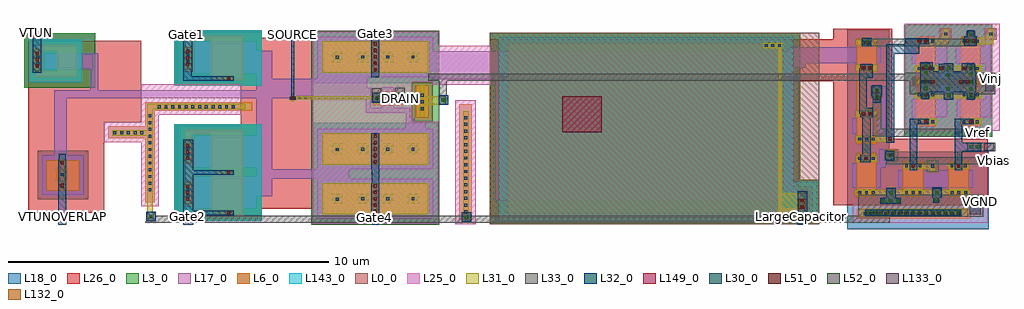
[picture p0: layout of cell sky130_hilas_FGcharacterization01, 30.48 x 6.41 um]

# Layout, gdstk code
from math import pi, radians
import gdstk
lib = gdstk.Library(unit=1e-6, precision=1e-09)
def R(c, l, rs):  # rectangles x0, y0, x1, y1
    for r in rs: c.add(gdstk.rectangle(r[:2], r[2:], *l))
def A(c, l, x, y, w, h, nx, ny, dx, dy):  # array of equal rectangles
    R(c, l, [(x+i*dx, y+j*dy, x+i*dx+w, y+j*dy+h) for i in range(nx) for j in range(ny)])
L0_0 = (0, 0)
L3_0 = (3, 0)
L6_0 = (6, 0)
L17_0 = (17, 0)
L18_0 = (18, 0)
L25_0 = (25, 0)
L26_0 = (26, 0)
L30_0 = (30, 0)
L31_0 = (31, 0)
L32_0 = (32, 0)
L33_0 = (33, 0)
L51_0 = (51, 0)
L52_0 = (52, 0)
L132_0 = (132, 0)
L133_0 = (133, 0)
L143_0 = (143, 0)
L149_0 = (149, 0)

m1_od_cdns_6762444927218 = lib.new_cell('M1_OD_CDNS_6762444927218')
R(m1_od_cdns_6762444927218, L6_0, [(-0.075,-0.075,0.075,0.075)])
R(m1_od_cdns_6762444927218, L30_0, [(-0.045,-0.045,0.045,0.045)])
R(m1_od_cdns_6762444927218, L31_0, [(-0.085,-0.085,0.085,0.085)])

m2_m1_cdns_6762444927219 = lib.new_cell('M2_M1_CDNS_6762444927219')
R(m2_m1_cdns_6762444927219, L31_0, [(-0.09,-0.49,0.09,0.49)])
R(m2_m1_cdns_6762444927219, L32_0, [(-0.09,-0.49,0.09,0.49)])
A(m2_m1_cdns_6762444927219, L51_0, -0.05, -0.45, 0.1, 0.1, 1, 5, 0, 0.2)

sky130_hilas_overlapcap0 = lib.new_cell('sky130_hilas_overlapCap02a')
R(sky130_hilas_overlapcap0, L3_0, [(0,0,4,1.64)])
R(sky130_hilas_overlapcap0, L6_0, [(0.35,0.33,3.66,1.31)])
A(sky130_hilas_overlapcap0, L17_0, 1.015, 0.625, 0.39, 0.4, 3, 1, 0.79, 0)
R(sky130_hilas_overlapcap0, L17_0, [(0.19,0.19,3.81,0.625), (0.19,0.625,0.615,1.025), (3.385,0.625,3.81,1.025), (0.19,1.025,3.81,1.45)])
R(sky130_hilas_overlapcap0, L18_0, [(0,0,4,1.64)])
R(sky130_hilas_overlapcap0, L25_0, [(0.04,0.04,3.96,1.6)])
R(sky130_hilas_overlapcap0, L31_0, [(0.35,0.33,3.66,1.31)])
R(sky130_hilas_overlapcap0, L32_0, [(1.88,0.19,2.12,0.41), (1.88,0.41,2.12,0.67), (1.88,0.67,2.12,1.31)])
sky130_hilas_overlapcap0.add(gdstk.Reference(m1_od_cdns_6762444927218, (3.18,0.815)))
sky130_hilas_overlapcap0.add(gdstk.Reference(m1_od_cdns_6762444927218, (2.39,0.815)))
sky130_hilas_overlapcap0.add(gdstk.Reference(m1_od_cdns_6762444927218, (1.605,0.815)))
sky130_hilas_overlapcap0.add(gdstk.Reference(m1_od_cdns_6762444927218, (0.815,0.805)))
sky130_hilas_overlapcap0.add(gdstk.Reference(m2_m1_cdns_6762444927219, (2,0.82)))

m1_po_cdns_6762444927220 = lib.new_cell('M1_PO_CDNS_6762444927220')
R(m1_po_cdns_6762444927220, L17_0, [(-0.085,-0.085,0.085,0.085)])
R(m1_po_cdns_6762444927220, L30_0, [(-0.045,-0.045,0.045,0.045)])
R(m1_po_cdns_6762444927220, L31_0, [(-0.085,-0.085,0.085,0.085)])

sky130_hilas_poly2li = lib.new_cell('sky130_hilas_poly2li')
R(sky130_hilas_poly2li, L0_0, [(-0.14,-0.16,0.23,0.21)])
R(sky130_hilas_poly2li, L17_0, [(-0.09,-0.14,0.18,0.19)])
R(sky130_hilas_poly2li, L31_0, [(-0.04,-0.14,0.13,0.19)])
sky130_hilas_poly2li.add(gdstk.Reference(m1_po_cdns_6762444927220, (0.045,0.025)))

m2_m1_cdns_6762444927221 = lib.new_cell('M2_M1_CDNS_6762444927221')
R(m2_m1_cdns_6762444927221, L31_0, [(-0.09,-0.09,0.09,0.09)])
R(m2_m1_cdns_6762444927221, L32_0, [(-0.115,-0.115,0.115,0.115)])
R(m2_m1_cdns_6762444927221, L51_0, [(-0.05,-0.05,0.05,0.05)])

m3_m2_cdns_6762444927222 = lib.new_cell('M3_M2_CDNS_6762444927222')
R(m3_m2_cdns_6762444927222, L32_0, [(-0.115,-0.115,0.115,0.115)])
R(m3_m2_cdns_6762444927222, L33_0, [(-0.09,-0.09,0.09,0.09)])
R(m3_m2_cdns_6762444927222, L52_0, [(-0.05,-0.05,0.05,0.05)])

sky130_hilas_li2m2 = lib.new_cell('sky130_hilas_li2m2')
R(sky130_hilas_li2m2, L32_0, [(-0.11,-0.125,0.19,0.175)])
R(sky130_hilas_li2m2, L33_0, [(-0.11,-0.125,0.19,0.175)])
sky130_hilas_li2m2.add(gdstk.Reference(m2_m1_cdns_6762444927221, (0.04,0.02)))
sky130_hilas_li2m2.add(gdstk.Reference(m3_m2_cdns_6762444927222, (0.04,0.02)))

m1_od_cdns_6762444927223 = lib.new_cell('M1_OD_CDNS_6762444927223')
R(m1_od_cdns_6762444927223, L6_0, [(-0.075,-0.18,0.075,0.18)])
R(m1_od_cdns_6762444927223, L30_0, [(-0.045,-0.15,0.045,-0.06), (-0.045,0.06,0.045,0.15)])
R(m1_od_cdns_6762444927223, L31_0, [(-0.085,-0.19,0.085,0.19)])

m2_m1_cdns_6762444927224 = lib.new_cell('M2_M1_CDNS_6762444927224')
R(m2_m1_cdns_6762444927224, L31_0, [(-0.09,-0.29,0.09,0.29)])
R(m2_m1_cdns_6762444927224, L32_0, [(-0.09,-0.29,0.09,0.29)])
A(m2_m1_cdns_6762444927224, L51_0, -0.05, -0.25, 0.1, 0.1, 1, 3, 0, 0.2)

sky130_hilas_fgvaractorc = lib.new_cell('sky130_hilas_FGVaractorCapacitor02')
R(sky130_hilas_fgvaractorc, L3_0, [(0,0,2.72,1.735)])
R(sky130_hilas_fgvaractorc, L6_0, [(1.15,0.18,2.15,1.425), (0.33,0.43,0.55,1.425), (0.33,1.425,2.15,1.575)])
R(sky130_hilas_fgvaractorc, L17_0, [(0.64,0.375,2.56,1.375)])
R(sky130_hilas_fgvaractorc, L18_0, [(0,0,2.72,1.735)])
R(sky130_hilas_fgvaractorc, L26_0, [(0.17,0.16,2.72,1.695)])
R(sky130_hilas_fgvaractorc, L30_0, [(1.65,0.195,1.74,0.285)])
R(sky130_hilas_fgvaractorc, L31_0, [(1.32,0.17,1.85,0.305), (0.3,0.52,0.53,1.21)])
R(sky130_hilas_fgvaractorc, L32_0, [(0.28,0.17,0.54,0.49), (0.285,0.17,1.85,0.305), (0.28,0.47,0.54,1.26)])
R(sky130_hilas_fgvaractorc, L51_0, [(1.645,0.19,1.745,0.29)])
R(sky130_hilas_fgvaractorc, L143_0, [(0,0,2.72,1.735)])
sky130_hilas_fgvaractorc.add(gdstk.Reference(m1_od_cdns_6762444927223, (0.42,0.87)))
sky130_hilas_fgvaractorc.add(gdstk.Reference(m2_m1_cdns_6762444927224, (0.41,0.875)))

m1_od_cdns_6762444927225 = lib.new_cell('M1_OD_CDNS_6762444927225')
R(m1_od_cdns_6762444927225, L6_0, [(-0.075,-0.18,0.075,0.18)])
R(m1_od_cdns_6762444927225, L30_0, [(-0.045,-0.15,0.045,-0.06), (-0.045,0.06,0.045,0.15)])
R(m1_od_cdns_6762444927225, L31_0, [(-0.085,-0.19,0.085,0.19)])

m2_m1_cdns_6762444927226 = lib.new_cell('M2_M1_CDNS_6762444927226')
R(m2_m1_cdns_6762444927226, L31_0, [(-0.09,-0.29,0.09,0.29)])
R(m2_m1_cdns_6762444927226, L32_0, [(-0.09,-0.29,0.09,0.29)])
A(m2_m1_cdns_6762444927226, L51_0, -0.05, -0.25, 0.1, 0.1, 1, 3, 0, 0.2)

sky130_hilas_fgvaractort = lib.new_cell('sky130_hilas_FGVaractorTunnelCap01')
R(sky130_hilas_fgvaractort, L3_0, [(0,0,2.22,1.69)])
R(sky130_hilas_fgvaractort, L6_0, [(0.33,0.33,1.65,0.51), (1.04,0.33,1.65,1.15), (0.33,0.43,0.55,1.15), (0.33,1.15,1.65,1.34)])
R(sky130_hilas_fgvaractort, L17_0, [(0.64,0.58,2.05,1.08)])
R(sky130_hilas_fgvaractort, L18_0, [(0,0,2.22,1.69)])
R(sky130_hilas_fgvaractort, L26_0, [(0.135,0.26,2.215,1.465)])
R(sky130_hilas_fgvaractort, L31_0, [(0.3,0.52,0.53,1.21)])
R(sky130_hilas_fgvaractort, L32_0, [(0.28,0.47,0.54,1.26)])
R(sky130_hilas_fgvaractort, L143_0, [(0.17,0.17,1.81,1.5)])
sky130_hilas_fgvaractort.add(gdstk.Reference(m1_od_cdns_6762444927225, (0.425,0.845)))
sky130_hilas_fgvaractort.add(gdstk.Reference(m2_m1_cdns_6762444927226, (0.415,0.875)))

m1_od_cdns_6762444927227 = lib.new_cell('M1_OD_CDNS_6762444927227')
R(m1_od_cdns_6762444927227, L6_0, [(-0.18,-0.075,0.18,0.075)])
R(m1_od_cdns_6762444927227, L30_0, [(-0.15,-0.045,-0.06,0.045), (0.06,-0.045,0.15,0.045)])
R(m1_od_cdns_6762444927227, L31_0, [(-0.19,-0.09,0.19,0.09)])

m2_m1_cdns_676244492721 = lib.new_cell('M2_M1_CDNS_676244492721')
R(m2_m1_cdns_676244492721, L31_0, [(-0.19,-0.09,0.19,0.09)])
R(m2_m1_cdns_676244492721, L32_0, [(-0.19,-0.09,0.19,0.09)])
R(m2_m1_cdns_676244492721, L51_0, [(-0.15,-0.05,-0.05,0.05), (0.05,-0.05,0.15,0.05)])

sky130_hilas_ndiffthoxco = lib.new_cell('sky130_hilas_nDiffThOxContact')
R(sky130_hilas_ndiffthoxco, L6_0, [(-0.24,0.13,0.39,0.41)])
R(sky130_hilas_ndiffthoxco, L26_0, [(-0.365,0.005,0.515,0.535)])
R(sky130_hilas_ndiffthoxco, L31_0, [(-0.26,0.17,0.41,0.36)])
R(sky130_hilas_ndiffthoxco, L32_0, [(-0.12,0.15,0.27,0.38)])
sky130_hilas_ndiffthoxco.add(gdstk.Reference(m1_od_cdns_6762444927227, (0.075,0.265)))
sky130_hilas_ndiffthoxco.add(gdstk.Reference(m2_m1_cdns_676244492721, (0.075,0.265)))

sky130_hilas_pfetdevice0 = lib.new_cell('sky130_hilas_pFETdevice01w1')
R(sky130_hilas_pfetdevice0, L3_0, [(-0.79,-0.78,0.82,0.43)])
R(sky130_hilas_pfetdevice0, L6_0, [(-0.45,-0.22,0.48,0.2)])
R(sky130_hilas_pfetdevice0, L17_0, [(0.56,-0.78,0.82,-0.63), (0.56,-0.63,0.71,-0.45), (-0.68,-0.45,0.71,-0.3), (-0.68,-0.3,-0.53,0.18), (-0.18,-0.3,0.21,0.33), (-0.79,0.18,-0.53,0.33)])
R(sky130_hilas_pfetdevice0, L25_0, [(-0.575,-0.345,0.605,0.325)])
R(sky130_hilas_pfetdevice0, L31_0, [(-0.41,-0.16,-0.24,0.17), (0.27,-0.16,0.44,0.17), (0.27,0.06,0.44,0.17), (-0.41,0.065,-0.24,0.17)])
sky130_hilas_pfetdevice0.add(gdstk.Reference(m1_od_cdns_6762444927218, (0.355,-0.01)))
sky130_hilas_pfetdevice0.add(gdstk.Reference(m1_od_cdns_6762444927218, (-0.325,0)))
sky130_hilas_pfetdevice0.add(gdstk.Label('DRAIN', (0.37,0.23), layer=31, texttype=0))
sky130_hilas_pfetdevice0.add(gdstk.Label('SOURCE', (-0.355,0.22), layer=31, texttype=0))

m2_m1_cdns_6762444927228 = lib.new_cell('M2_M1_CDNS_6762444927228')
R(m2_m1_cdns_6762444927228, L31_0, [(-0.09,-0.19,0.09,0.19)])
R(m2_m1_cdns_6762444927228, L32_0, [(-0.09,-0.19,0.09,0.19)])
R(m2_m1_cdns_6762444927228, L51_0, [(-0.05,-0.15,0.05,-0.05), (-0.05,0.05,0.05,0.15)])

m1_od_cdns_676244492723 = lib.new_cell('M1_OD_CDNS_676244492723')
R(m1_od_cdns_676244492723, L6_0, [(-0.285,-0.075,0.285,0.075)])
A(m1_od_cdns_676244492723, L30_0, -0.255, -0.045, 0.09, 0.09, 3, 1, 0.21, 0)
R(m1_od_cdns_676244492723, L31_0, [(-0.295,-0.085,0.295,0.085)])

sky130_hilas_fghugevarac = lib.new_cell('sky130_hilas_FGHugeVaractorCapacitor01')
R(sky130_hilas_fghugevarac, L3_0, [(0,0,10.29,1.39), (0,1.39,9.69,5.99)])
R(sky130_hilas_fghugevarac, L6_0, [(0.56,0.33,9.96,0.5), (0.56,0.5,9.12,5.66), (9.6,0.5,9.96,1.06)])
R(sky130_hilas_fghugevarac, L17_0, [(0.16,0.74,9.51,5.4)])
R(sky130_hilas_fghugevarac, L18_0, [(0,0,10.29,1.39), (0,1.39,9.69,5.99)])
R(sky130_hilas_fghugevarac, L26_0, [(0.01,0.205,10.085,1.185), (0.01,1.185,9.66,5.785)])
R(sky130_hilas_fghugevarac, L31_0, [(9.005,0.3,9.13,5.5), (9.13,0.3,9.655,0.97), (9.655,0.3,9.835,0.97)])
R(sky130_hilas_fghugevarac, L32_0, [(9.63,0.46,9.87,0.84)])
R(sky130_hilas_fghugevarac, L132_0, [(9.64,0.49,9.855,0.78)])
R(sky130_hilas_fghugevarac, L143_0, [(0.28,0.095,9.47,5.84), (9.47,0.095,10.225,1.335)])
R(sky130_hilas_fghugevarac, L149_0, [(2.255,2.875,3.495,4.005)])
sky130_hilas_fghugevarac.add(gdstk.Reference(m2_m1_cdns_6762444927228, (9.745,0.65)))
sky130_hilas_fghugevarac.add(gdstk.Reference(m1_od_cdns_6762444927225, (9.745,0.645)))
sky130_hilas_fghugevarac.add(gdstk.Reference(m1_od_cdns_676244492723, (8.835,5.585)))
sky130_hilas_fghugevarac.add(gdstk.Label('FG', (2.81,3.53), layer=149, texttype=0))
sky130_hilas_fghugevarac.add(gdstk.Label('Gate', (9.745,0.665), layer=132, texttype=0))

m2_m1_cdns_676244492729 = lib.new_cell('M2_M1_CDNS_676244492729')
R(m2_m1_cdns_676244492729, L31_0, [(-0.09,-0.09,0.09,0.09)])
R(m2_m1_cdns_676244492729, L32_0, [(-0.09,-0.09,0.09,0.09)])
R(m2_m1_cdns_676244492729, L51_0, [(-0.05,-0.05,0.05,0.05)])

sky130_hilas_noverlapcap = lib.new_cell('sky130_hilas_nOverlapCap01')
R(sky130_hilas_noverlapcap, L6_0, [(0.27,0.27,1.305,1.215)])
R(sky130_hilas_noverlapcap, L17_0, [(0.13,0.13,1.445,0.57), (0.13,0.57,0.57,0.97), (0.97,0.57,1.445,0.97), (0.13,0.97,1.445,1.375)])
R(sky130_hilas_noverlapcap, L18_0, [(0,0,1.575,1.505)])
R(sky130_hilas_noverlapcap, L26_0, [(0,0,1.575,1.505)])
R(sky130_hilas_noverlapcap, L31_0, [(0.685,0.335,0.855,1.225)])
R(sky130_hilas_noverlapcap, L32_0, [(0.655,0.125,0.885,1.415)])
sky130_hilas_noverlapcap.add(gdstk.Reference(m1_od_cdns_6762444927218, (0.77,0.77)))
sky130_hilas_noverlapcap.add(gdstk.Reference(m2_m1_cdns_676244492729, (0.77,0.425)))
sky130_hilas_noverlapcap.add(gdstk.Reference(m2_m1_cdns_676244492729, (0.77,1.135)))

m3_m2_cdns_6762444927211 = lib.new_cell('M3_M2_CDNS_6762444927211')
R(m3_m2_cdns_6762444927211, L32_0, [(-0.09,-0.09,0.09,0.09)])
R(m3_m2_cdns_6762444927211, L33_0, [(-0.09,-0.09,0.09,0.09)])
R(m3_m2_cdns_6762444927211, L52_0, [(-0.05,-0.05,0.05,0.05)])

sky130_hilas_poly2m2 = lib.new_cell('sky130_hilas_poly2m2')
R(sky130_hilas_poly2m2, L0_0, [(-0.11,-0.1,0.26,0.27)])
R(sky130_hilas_poly2m2, L17_0, [(-0.09,-0.08,0.24,0.25)])
R(sky130_hilas_poly2m2, L31_0, [(-0.03,-0.2,0.18,-0.18), (-0.03,-0.18,0.18,0.25)])
R(sky130_hilas_poly2m2, L32_0, [(-0.04,-0.26,0.19,-0.03), (-0.08,-0.03,0.24,0.29)])
R(sky130_hilas_poly2m2, L33_0, [(-0.08,-0.03,0.24,0.29)])
sky130_hilas_poly2m2.add(gdstk.Reference(m1_po_cdns_6762444927220, (0.075,0.1)))
sky130_hilas_poly2m2.add(gdstk.Reference(m3_m2_cdns_6762444927211, (0.08,0.14)))
sky130_hilas_poly2m2.add(gdstk.Reference(m2_m1_cdns_6762444927228, (0.08,-0.005)))

m3_m2_cdns_676244492720 = lib.new_cell('M3_M2_CDNS_676244492720')
R(m3_m2_cdns_676244492720, L32_0, [(-0.035,-0.075,0.175,0.195)])
R(m3_m2_cdns_676244492720, L33_0, [(-0.065,-0.045,0.205,0.165)])
R(m3_m2_cdns_676244492720, L52_0, [(0.02,0.01,0.12,0.11)])

m1_od_cdns_676244492722 = lib.new_cell('M1_OD_CDNS_676244492722')
R(m1_od_cdns_676244492722, L6_0, [(-1.545,-0.075,1.545,0.075)])
A(m1_od_cdns_676244492722, L30_0, -1.515, -0.045, 0.09, 0.09, 15, 1, 0.21, 0)
R(m1_od_cdns_676244492722, L31_0, [(-1.555,-0.085,1.555,0.085)])

m1_od_cdns_676244492724 = lib.new_cell('M1_OD_CDNS_676244492724')
R(m1_od_cdns_676244492724, L6_0, [(-0.075,-1.23,0.075,1.23)])
A(m1_od_cdns_676244492724, L30_0, -0.045, -1.2, 0.09, 0.09, 1, 12, 0, 0.21)
R(m1_od_cdns_676244492724, L31_0, [(-0.085,-1.24,0.085,1.24)])

m1_od_cdns_676244492725 = lib.new_cell('M1_OD_CDNS_676244492725')
R(m1_od_cdns_676244492725, L6_0, [(-0.495,-0.075,0.495,0.075)])
A(m1_od_cdns_676244492725, L30_0, -0.465, -0.045, 0.09, 0.09, 5, 1, 0.21, 0)
R(m1_od_cdns_676244492725, L31_0, [(-0.505,-0.085,0.505,0.085)])

m1_od_cdns_676244492726 = lib.new_cell('M1_OD_CDNS_676244492726')
R(m1_od_cdns_676244492726, L6_0, [(-0.075,-0.285,0.075,0.285)])
A(m1_od_cdns_676244492726, L30_0, -0.045, -0.255, 0.09, 0.09, 1, 3, 0, 0.21)
R(m1_od_cdns_676244492726, L31_0, [(-0.085,-0.295,0.085,0.295)])

m1_od_cdns_676244492727 = lib.new_cell('M1_OD_CDNS_676244492727')
R(m1_od_cdns_676244492727, L6_0, [(-0.075,-1.545,0.075,1.545)])
A(m1_od_cdns_676244492727, L30_0, -0.045, -1.515, 0.09, 0.09, 1, 15, 0, 0.21)
R(m1_od_cdns_676244492727, L31_0, [(-0.085,-1.555,0.085,1.555)])

m1_od_cdns_676244492728 = lib.new_cell('M1_OD_CDNS_676244492728')
R(m1_od_cdns_676244492728, L6_0, [(-0.18,-0.075,0.18,0.075)])
R(m1_od_cdns_676244492728, L30_0, [(-0.15,-0.045,-0.06,0.045), (0.06,-0.045,0.15,0.045)])
R(m1_od_cdns_676244492728, L31_0, [(-0.19,-0.085,0.19,0.085)])

m2_m1_cdns_6762444927210 = lib.new_cell('M2_M1_CDNS_6762444927210')
R(m2_m1_cdns_6762444927210, L31_0, [(-0.045,-0.025,0.075,0.155)])
R(m2_m1_cdns_6762444927210, L32_0, [(-0.065,-0.045,0.095,0.175)])
R(m2_m1_cdns_6762444927210, L51_0, [(-0.035,0.015,0.065,0.115)])

m2_m1_cdns_6762444927212 = lib.new_cell('M2_M1_CDNS_6762444927212')
R(m2_m1_cdns_6762444927212, L31_0, [(-1.49,-0.09,1.49,0.09)])
R(m2_m1_cdns_6762444927212, L32_0, [(-1.49,-0.09,1.49,0.09)])
A(m2_m1_cdns_6762444927212, L51_0, -1.45, -0.05, 0.1, 0.1, 15, 1, 0.2, 0)

m3_m2_cdns_6762444927213 = lib.new_cell('M3_M2_CDNS_6762444927213')
R(m3_m2_cdns_6762444927213, L32_0, [(-1.49,-0.09,1.49,0.09)])
R(m3_m2_cdns_6762444927213, L33_0, [(-1.49,-0.09,1.49,0.09)])
A(m3_m2_cdns_6762444927213, L52_0, -1.45, -0.05, 0.1, 0.1, 15, 1, 0.2, 0)

m3_m2_cdns_6762444927214 = lib.new_cell('M3_M2_CDNS_6762444927214')
R(m3_m2_cdns_6762444927214, L32_0, [(-0.035,-0.175,0.175,0.295)])
R(m3_m2_cdns_6762444927214, L33_0, [(-0.065,-0.145,0.205,0.265)])
R(m3_m2_cdns_6762444927214, L52_0, [(0.02,-0.09,0.12,0.01), (0.02,0.11,0.12,0.21)])

m2_m1_cdns_6762444927215 = lib.new_cell('M2_M1_CDNS_6762444927215')
R(m2_m1_cdns_6762444927215, L31_0, [(-0.05,-0.09,0.05,0.09)])
R(m2_m1_cdns_6762444927215, L32_0, [(-0.09,-0.05,0.09,0.05)])
R(m2_m1_cdns_6762444927215, L51_0, [(-0.05,-0.05,0.05,0.05)])

m3_m2_cdns_6762444927216 = lib.new_cell('M3_M2_CDNS_6762444927216')
R(m3_m2_cdns_6762444927216, L32_0, [(-0.135,-0.075,0.275,0.195)])
R(m3_m2_cdns_6762444927216, L33_0, [(-0.165,-0.045,0.305,0.165)])
R(m3_m2_cdns_6762444927216, L52_0, [(-0.08,0.01,0.02,0.11), (0.12,0.01,0.22,0.11)])

m3_m2_cdns_6762444927217 = lib.new_cell('M3_M2_CDNS_6762444927217')
R(m3_m2_cdns_6762444927217, L32_0, [(-0.32,-0.09,0.32,0.09)])
R(m3_m2_cdns_6762444927217, L33_0, [(-0.32,-0.09,0.32,0.09)])
A(m3_m2_cdns_6762444927217, L52_0, -0.28, -0.05, 0.1, 0.1, 3, 1, 0.23, 0)

sky130_hilas_fgcharacter = lib.new_cell('sky130_hilas_FGcharacterization01')
R(sky130_hilas_fgcharacter, L0_0, [(14.55,0.15,24.84,6.14)])
R(sky130_hilas_fgcharacter, L3_0, [(27.495,2.88,30.235,6.38), (8.97,3.32,12.97,4.51), (8.97,4.51,12.97,4.56)])
R(sky130_hilas_fgcharacter, L6_0, [(13.6,0.28,13.99,3.9), (26.01,0.32,29.55,0.62), (3.79,0.84,4.08,2.84), (26,0.99,26.62,2.37), (27.45,0.99,28.09,2.14), (28.87,1,29.51,2.13), (5.03,1.81,5.25,2.005), (26,2.67,26.63,3.51), (2.63,2.84,4.08,3.22), (27.865,3.21,28.465,4.46), (29.265,3.21,29.865,4.46), (3.79,3.22,4.08,3.7), (12.23,3.48,12.64,3.52), (12.23,3.52,12.64,4.5), (3.79,3.7,7.13,3.96), (26,3.75,26.3,4.9), (27.865,4.46,28.465,4.76), (29.265,4.46,29.865,4.76), (27.865,4.76,28.465,6.01), (29.265,4.76,29.865,6.01), (26.01,4.9,26.3,4.91), (26,5.05,26.63,5.95)])
R(sky130_hilas_fgcharacter, L17_0, [(7.26,1.03,7.75,1.58), (25.85,1.29,26.76,1.91), (27.29,1.29,29.65,1.84), (7.26,1.58,10.15,1.87), (7.26,1.87,7.75,4.09), (25.85,1.91,26.91,2.06), (26.7,2.06,26.91,2.11), (26.7,2.11,27.26,2.49), (0.95,2.3,1.33,4.09), (26.88,2.49,27.26,2.5), (25.85,2.96,26.93,3.46), (10.21,3.12,10.72,3.13), (11.91,3.13,12.54,3.31), (12.03,3.31,12.54,3.32), (26.77,3.46,26.93,4.12), (27.725,3.5,28.825,4.05), (29.125,3.5,30.185,4.05), (28.625,4.05,28.825,5.17), (30.015,4.05,30.185,5.17), (0.95,4.09,10.72,4.33), (26.46,4.12,26.93,4.46), (2.07,4.33,2.32,5), (7.26,4.33,10.72,4.68), (11.18,4.42,11.57,4.43), (7.26,4.68,9.2,4.7), (9.16,4.68,10.72,4.775), (12.77,4.68,14.73,5.55), (7.26,4.7,7.75,5.57), (2.04,5,2.32,5.5), (23.88,5.04,24.42,5.18), (27.725,5.17,28.825,5.72), (29.105,5.17,30.185,5.72), (23.88,5.18,26.77,5.55), (23.89,5.55,26.77,5.68), (28.625,5.72,28.825,5.94), (30.005,5.72,30.185,5.93), (30.035,5.93,30.125,6.1), (28.625,5.94,28.705,6.1)])
R(sky130_hilas_fgcharacter, L18_0, [(25.71,0,27.025,6.22), (26.755,0,30.13,2.41), (27.495,2.88,30.235,6.38)])
R(sky130_hilas_fgcharacter, L25_0, [(13.475,0.155,14.115,4.025), (25.885,0.195,30.09,0.745), (3.665,0.715,4.205,2.715), (9.195,1.565,12.755,1.885), (2.505,2.715,4.205,3.345), (27.505,3.075,27.74,6.41), (27.74,3.075,29.14,4.46), (29.14,3.075,30.475,4.46), (9.01,3.28,10.785,4.625), (10.785,3.28,11.965,3.745), (11.965,3.28,12.105,4.625), (12.105,3.28,12.93,3.355), (3.665,3.345,4.205,3.575), (3.665,3.575,6.775,4.525), (10.785,4.415,11.965,4.625), (28.59,4.46,29.14,4.76), (29.99,4.46,30.475,4.76), (12.765,4.51,12.93,4.625), (12.93,4.51,14.56,5.725), (27.74,4.76,29.14,6.41), (29.14,4.76,30.475,6.41)])
R(sky130_hilas_fgcharacter, L26_0, [(4.87,0.32,7.42,0.435), (0.135,0.51,2.505,0.95), (7.41,0.635,9.01,5.97), (25.265,0.745,27.325,2.825), (27.325,0.745,28.745,2.825), (28.745,0.745,30.09,2.825), (0.135,0.95,0.44,4.725), (1.95,0.95,2.505,2.46), (4.905,1.685,5.375,2.045), (0.44,2.435,2.505,4.725), (25.265,2.545,27.12,3.635), (6.775,2.98,7.41,4.64), (2.215,3.345,3.665,5.885), (12.105,3.355,12.115,3.395), (12.115,3.355,12.765,3.395), (12.105,3.395,12.765,4.6), (25.265,3.635,27.12,4.925), (27.74,4.46,28.59,4.76), (29.14,4.46,29.99,4.76), (4.87,4.525,6.775,4.64), (24.21,4.62,25.265,5.935), (25.265,4.925,27.12,6.075), (25.265,6.075,27.12,6.265)])
R(sky130_hilas_fgcharacter, L31_0, [(13.88,0.275,13.89,0.3), (13.71,0.3,13.89,1.03), (3.85,0.385,4.02,2.92), (26.05,0.39,29.48,0.55), (26.05,0.55,26.22,0.62), (26.22,0.55,29.48,0.635), (26.22,0.56,26.9,0.61), (26.28,0.61,26.82,0.62), (26.05,0.62,26.82,0.635), (13.71,1.03,13.89,3.68), (25.95,1.06,29.53,1.23), (27.44,1.89,28.32,2.07), (28.85,1.89,29.52,2.07), (25.97,2.11,26.64,2.29), (26.965,2.15,27.04,2.235), (26.965,2.405,27.04,2.48), (25.97,2.73,27.11,2.915), (2.75,2.92,4.02,3.09), (3.85,3.09,4.02,3.74), (27.825,3.27,28.505,3.45), (29.235,3.27,29.905,3.45), (12.35,3.49,12.52,3.89), (3.85,3.74,6.91,3.91), (12.35,3.89,13.17,4.15), (10.92,3.93,10.95,4.26), (11.8,3.93,11.825,4.26), (27.825,4.095,29.905,4.28), (12.35,4.15,12.52,4.5), (27.905,4.51,29.725,4.69), (27.825,4.93,29.905,5.11), (25.98,5.74,26.65,5.91), (27.825,5.77,28.875,5.96), (29.235,5.78,30.275,5.97), (28.665,5.95,28.745,6.1), (30.035,5.96,30.125,6.1)])
R(sky130_hilas_fgcharacter, L32_0, [(1.07,0.13,1.32,0.31), (4.97,0.13,5.28,2.72), (10.86,0.13,11.1,2.01), (24.17,0.13,24.46,1.19), (1.07,0.31,1.32,2.18), (27.66,1.84,27.89,3.45), (29.07,1.84,29.3,3.45), (26.12,2.09,26.45,2.32), (26.18,2.32,26.45,3.61), (29.3,2.435,29.485,2.705), (26.93,2.7,27.17,5.47), (4.97,2.72,4.98,2.795), (5.24,2.72,5.28,2.795), (27.89,3.27,28.07,3.45), (29.3,3.27,29.485,3.45), (26.09,3.61,26.45,3.79), (26.45,3.72,26.51,3.79), (26.09,3.79,26.32,4.73), (29.445,4.035,29.685,4.27), (28.03,4.05,28.26,4.27), (27.995,4.27,29.745,4.93), (26.09,4.73,26.51,4.93), (4.98,4.93,5.25,6.18), (26.09,4.93,26.45,5.02), (27.995,4.93,28.375,5.215), (29.445,4.93,29.685,5.175), (26.18,5.02,26.45,5.15), (28.56,5.11,28.705,5.17), (29.28,5.11,29.445,5.175), (0.28,5.29,0.54,6.18), (26.93,5.47,27.96,5.78), (26.17,5.71,26.46,5.98), (29.37,5.72,29.755,6.03), (10.85,5.77,11.09,6.18), (27.515,5.78,27.875,5.955)])
R(sky130_hilas_fgcharacter, L33_0, [(3.79,0.2,3.81,0.23), (3.81,0.2,27.04,0.41), (26.05,0.39,29.95,0.66), (26.31,0.41,26.76,0.59), (26.05,0.66,29.95,0.75), (26.05,0.75,26.07,1.08), (26.07,0.75,29.95,1.08), (26.92,2.02,30.48,2.25), (29.455,2.435,30.335,2.705), (27.02,2.89,29.95,2.9), (26.5,2.9,29.95,3.12), (26.5,3.12,29.29,3.13), (26.5,3.13,26.77,4.41), (10.86,3.94,11.16,4.4), (11.59,3.95,11.89,4.41), (12.97,3.97,13.21,4.64), (27.665,4.21,30.335,4.72), (12.63,4.64,29.95,4.72), (12.63,4.72,27.28,4.85), (27.28,4.72,27.525,4.85), (27.525,4.72,30.335,4.89), (29.44,4.89,29.71,4.935), (26.16,5.71,29.7,5.95), (29.655,5.78,29.7,5.96), (29.43,5.95,29.7,5.965)])
R(sky130_hilas_fgcharacter, L132_0, [(24.19,0.22,24.45,0.32), (10.875,0.265,11.09,0.415), (4.975,0.31,5.255,0.485), (1.075,0.325,1.315,0.43), (11.61,3.975,11.865,4.225), (4.995,5.95,5.23,6.16), (0.29,5.98,0.525,6.17), (8.345,6.005,8.445,6.12), (10.85,6.05,11.09,6.165)])
R(sky130_hilas_fgcharacter, L133_0, [(29.54,0.47,29.885,0.93), (30.16,2.065,30.445,2.225), (29.985,2.45,30.29,2.685), (29.64,2.925,29.9,3.1), (30.025,4.3,30.29,4.815)])
sky130_hilas_fgcharacter.add(gdstk.FlexPath([(8.395,4.1),(8.395,4.09)], 0.09, ends=(0.045, 0), simple_path=True, layer=31, datatype=0))  # L31_0
sky130_hilas_fgcharacter.add(gdstk.FlexPath([(11.03,4.1),(8.395,4.1)], 0.09, ends=(0, 0.045), simple_path=True, layer=31, datatype=0))  # L31_0
sky130_hilas_fgcharacter.add(gdstk.FlexPath([(8.395,4.09),(8.395,6.13)], 0.1, ends="flush", simple_path=True, layer=32, datatype=0))  # L32_0
sky130_hilas_fgcharacter.add(gdstk.Reference(sky130_hilas_overlapcap0, (8.97,1.68)))
sky130_hilas_fgcharacter.add(gdstk.Reference(sky130_hilas_overlapcap0, (8.97,0.13)))
sky130_hilas_fgcharacter.add(gdstk.Reference(sky130_hilas_overlapcap0, (8.97,4.56)))
sky130_hilas_fgcharacter.add(gdstk.Reference(sky130_hilas_poly2li, (30.145,6.07)))
sky130_hilas_fgcharacter.add(gdstk.Reference(sky130_hilas_poly2li, (28.745,6.07)))
sky130_hilas_fgcharacter.add(gdstk.Reference(sky130_hilas_poly2li, (28.33,1.94)))
sky130_hilas_fgcharacter.add(gdstk.Reference(sky130_hilas_poly2li, (27.17,2.34), rotation=pi))
sky130_hilas_fgcharacter.add(gdstk.Reference(sky130_hilas_li2m2, (28.835,4.17)))
sky130_hilas_fgcharacter.add(gdstk.Reference(sky130_hilas_li2m2, (28.835,5.01)))
sky130_hilas_fgcharacter.add(gdstk.Reference(sky130_hilas_li2m2, (27.075,2.33), rotation=pi))
sky130_hilas_fgcharacter.add(gdstk.Reference(sky130_hilas_li2m2, (28.47,1.11)))
sky130_hilas_fgcharacter.add(gdstk.Reference(sky130_hilas_li2m2, (27.04,1.115)))
sky130_hilas_fgcharacter.add(gdstk.Reference(sky130_hilas_li2m2, (13.06,4.01)))
sky130_hilas_fgcharacter.add(gdstk.Reference(sky130_hilas_li2m2, (11.715,4.09)))
sky130_hilas_fgcharacter.add(gdstk.Reference(sky130_hilas_li2m2, (10.99,4.08)))
sky130_hilas_fgcharacter.add(gdstk.Reference(sky130_hilas_li2m2, (13.78,0.35)))
sky130_hilas_fgcharacter.add(gdstk.Reference(sky130_hilas_li2m2, (3.92,0.37)))
sky130_hilas_fgcharacter.add(gdstk.Reference(sky130_hilas_fgvaractorc, (4.7,0.265)))
sky130_hilas_fgcharacter.add(gdstk.Reference(sky130_hilas_fgvaractorc, (4.7,1.535)))
sky130_hilas_fgcharacter.add(gdstk.Reference(sky130_hilas_fgvaractorc, (4.7,4.47)))
sky130_hilas_fgcharacter.add(gdstk.Reference(sky130_hilas_fgvaractort, (0,4.42)))
sky130_hilas_fgcharacter.add(gdstk.Reference(sky130_hilas_ndiffthoxco, (26.24,4.77)))
sky130_hilas_fgcharacter.add(gdstk.Reference(sky130_hilas_ndiffthoxco, (26.24,3.34)))
sky130_hilas_fgcharacter.add(gdstk.Reference(sky130_hilas_pfetdevice0, (11.36,4.09)))
sky130_hilas_fgcharacter.add(gdstk.Reference(sky130_hilas_fghugevarac, (14.55,0.15)))
sky130_hilas_fgcharacter.add(gdstk.Reference(sky130_hilas_noverlapcap, (0.425,0.935)))
sky130_hilas_fgcharacter.add(gdstk.Reference(sky130_hilas_poly2m2, (26.55,4.2)))
sky130_hilas_fgcharacter.add(gdstk.Reference(m3_m2_cdns_676244492720, (29.495,6.01)))
sky130_hilas_fgcharacter.add(gdstk.Reference(m3_m2_cdns_676244492720, (26.25,5.785)))
sky130_hilas_fgcharacter.add(gdstk.Reference(m3_m2_cdns_676244492720, (29.505,4.11)))
sky130_hilas_fgcharacter.add(gdstk.Reference(m3_m2_cdns_676244492720, (29.505,4.98)))
sky130_hilas_fgcharacter.add(gdstk.Reference(m3_m2_cdns_676244492720, (29.505,4.53)))
sky130_hilas_fgcharacter.add(gdstk.Reference(m3_m2_cdns_676244492720, (28.075,4.13)))
sky130_hilas_fgcharacter.add(gdstk.Reference(m3_m2_cdns_676244492720, (28.095,4.55)))
sky130_hilas_fgcharacter.add(gdstk.Reference(m2_m1_cdns_676244492721, (29.365,4.6)))
sky130_hilas_fgcharacter.add(gdstk.Reference(m2_m1_cdns_676244492721, (28.275,4.6)))
sky130_hilas_fgcharacter.add(gdstk.Reference(m2_m1_cdns_676244492721, (28.185,5.02)))
sky130_hilas_fgcharacter.add(gdstk.Reference(m2_m1_cdns_676244492721, (29.56,5.875)))
sky130_hilas_fgcharacter.add(gdstk.Reference(m2_m1_cdns_676244492721, (28.065,5.865)))
sky130_hilas_fgcharacter.add(gdstk.Reference(m1_od_cdns_676244492722, (27.745,0.475)))
sky130_hilas_fgcharacter.add(gdstk.Reference(m1_od_cdns_676244492723, (28.165,5.865)))
sky130_hilas_fgcharacter.add(gdstk.Reference(m1_od_cdns_676244492723, (29.565,5.87)))
sky130_hilas_fgcharacter.add(gdstk.Reference(m1_od_cdns_676244492723, (29.565,5.015)))
sky130_hilas_fgcharacter.add(gdstk.Reference(m1_od_cdns_676244492723, (28.165,5.015)))
sky130_hilas_fgcharacter.add(gdstk.Reference(m1_od_cdns_676244492723, (28.165,4.195)))
sky130_hilas_fgcharacter.add(gdstk.Reference(m1_od_cdns_676244492723, (29.565,3.355)))
sky130_hilas_fgcharacter.add(gdstk.Reference(m1_od_cdns_676244492723, (29.565,4.195)))
sky130_hilas_fgcharacter.add(gdstk.Reference(m1_od_cdns_676244492723, (28.165,3.355)))
sky130_hilas_fgcharacter.add(gdstk.Reference(m1_od_cdns_676244492723, (26.315,2.815)))
sky130_hilas_fgcharacter.add(gdstk.Reference(m1_od_cdns_676244492723, (26.31,2.205)))
sky130_hilas_fgcharacter.add(gdstk.Reference(m1_od_cdns_676244492723, (29.19,1.985)))
sky130_hilas_fgcharacter.add(gdstk.Reference(m1_od_cdns_676244492723, (29.195,1.145)))
sky130_hilas_fgcharacter.add(gdstk.Reference(m1_od_cdns_676244492723, (27.77,1.145)))
sky130_hilas_fgcharacter.add(gdstk.Reference(m1_od_cdns_676244492723, (27.77,1.985)))
sky130_hilas_fgcharacter.add(gdstk.Reference(m1_od_cdns_676244492723, (26.31,1.145)))
sky130_hilas_fgcharacter.add(gdstk.Reference(m1_od_cdns_676244492724, (5.38,3.825), rotation=pi/2))
sky130_hilas_fgcharacter.add(gdstk.Reference(m1_od_cdns_676244492724, (3.935,2.38)))
sky130_hilas_fgcharacter.add(gdstk.Reference(m1_od_cdns_676244492725, (3.26,3.005)))
sky130_hilas_fgcharacter.add(gdstk.Reference(m1_od_cdns_676244492726, (12.435,3.975)))
sky130_hilas_fgcharacter.add(gdstk.Reference(m1_od_cdns_676244492727, (13.8,2.01)))
sky130_hilas_fgcharacter.add(gdstk.Reference(m1_od_cdns_676244492728, (29.49,4.605)))
sky130_hilas_fgcharacter.add(gdstk.Reference(m1_od_cdns_676244492728, (28.165,4.605)))
sky130_hilas_fgcharacter.add(gdstk.Reference(m1_od_cdns_676244492728, (26.315,5.825)))
sky130_hilas_fgcharacter.add(gdstk.Reference(m2_m1_cdns_676244492729, (29.37,5.02)))
sky130_hilas_fgcharacter.add(gdstk.Reference(m2_m1_cdns_676244492729, (28.65,5.02)))
sky130_hilas_fgcharacter.add(gdstk.Reference(m2_m1_cdns_676244492729, (26.29,2.2)))
sky130_hilas_fgcharacter.add(gdstk.Reference(m2_m1_cdns_676244492729, (29.18,1.98)))
sky130_hilas_fgcharacter.add(gdstk.Reference(m2_m1_cdns_676244492729, (27.775,1.98)))
sky130_hilas_fgcharacter.add(gdstk.Reference(m2_m1_cdns_676244492729, (29.575,3.36)))
sky130_hilas_fgcharacter.add(gdstk.Reference(m2_m1_cdns_676244492729, (28.16,3.36)))
sky130_hilas_fgcharacter.add(gdstk.Reference(m2_m1_cdns_676244492729, (28.16,4.19)))
sky130_hilas_fgcharacter.add(gdstk.Reference(m2_m1_cdns_676244492729, (29.58,4.19)))
sky130_hilas_fgcharacter.add(gdstk.Reference(m2_m1_cdns_676244492729, (29.57,5.02)))
sky130_hilas_fgcharacter.add(gdstk.Reference(m2_m1_cdns_676244492729, (26.32,5.83)))
sky130_hilas_fgcharacter.add(gdstk.Reference(m2_m1_cdns_6762444927210, (27.03,2.755)))
sky130_hilas_fgcharacter.add(gdstk.Reference(m3_m2_cdns_6762444927211, (29.565,4.37)))
sky130_hilas_fgcharacter.add(gdstk.Reference(m3_m2_cdns_6762444927211, (28.855,4.38)))
sky130_hilas_fgcharacter.add(gdstk.Reference(m3_m2_cdns_6762444927211, (28.155,4.39)))
sky130_hilas_fgcharacter.add(gdstk.Reference(m3_m2_cdns_6762444927211, (29.57,4.84)))
sky130_hilas_fgcharacter.add(gdstk.Reference(m3_m2_cdns_6762444927211, (29.565,5.87)))
sky130_hilas_fgcharacter.add(gdstk.Reference(m3_m2_cdns_6762444927211, (26.63,4.14)))
sky130_hilas_fgcharacter.add(gdstk.Reference(m3_m2_cdns_6762444927211, (28.855,4.81)))
sky130_hilas_fgcharacter.add(gdstk.Reference(m3_m2_cdns_6762444927211, (28.49,0.915)))
sky130_hilas_fgcharacter.add(gdstk.Reference(m2_m1_cdns_6762444927212, (27.775,0.515)))
sky130_hilas_fgcharacter.add(gdstk.Reference(m3_m2_cdns_6762444927213, (27.76,0.515)))
sky130_hilas_fgcharacter.add(gdstk.Reference(m3_m2_cdns_6762444927214, (28.095,4.92)))
sky130_hilas_fgcharacter.add(gdstk.Reference(m2_m1_cdns_6762444927215, (8.395,4.09)))
sky130_hilas_fgcharacter.add(gdstk.Reference(m3_m2_cdns_6762444927216, (29.62,2.51)))
sky130_hilas_fgcharacter.add(gdstk.Reference(m3_m2_cdns_6762444927217, (27.06,0.89)))
sky130_hilas_fgcharacter.add(gdstk.Label('VTUN', (0.395,6.15), layer=32, texttype=0))
sky130_hilas_fgcharacter.add(gdstk.Label('LargeCapacitor', (24.29,0.39), layer=32, texttype=0))
sky130_hilas_fgcharacter.add(gdstk.Label('VGND', (29.88,0.86), layer=33, texttype=0))
sky130_hilas_fgcharacter.add(gdstk.Label('VGND', (29.745,0.6), layer=133, texttype=0))
sky130_hilas_fgcharacter.add(gdstk.Label('Vinj', (30.17,4.69), layer=133, texttype=0))
sky130_hilas_fgcharacter.add(gdstk.Label('Vref', (29.765,3.015), layer=133, texttype=0))
sky130_hilas_fgcharacter.add(gdstk.Label('Output', (30.12,2.645), layer=133, texttype=0))
sky130_hilas_fgcharacter.add(gdstk.Label('Vbias', (30.28,2.14), layer=133, texttype=0))
sky130_hilas_fgcharacter.add(gdstk.Label('Gate1', (5.09,6.075), layer=132, texttype=0))
sky130_hilas_fgcharacter.add(gdstk.Label('Gate3', (10.98,6.12), layer=132, texttype=0))
sky130_hilas_fgcharacter.add(gdstk.Label('LargeCapacitor', (24.35,0.305), layer=132, texttype=0))
sky130_hilas_fgcharacter.add(gdstk.Label('VTUNOVERLAP', (1.195,0.39), layer=132, texttype=0))
sky130_hilas_fgcharacter.add(gdstk.Label('Gate2', (5.1,0.405), layer=132, texttype=0))
sky130_hilas_fgcharacter.add(gdstk.Label('Gate4', (10.96,0.35), layer=132, texttype=0))
sky130_hilas_fgcharacter.add(gdstk.Label('SOURCE', (8.4,6.08), layer=132, texttype=0))
sky130_hilas_fgcharacter.add(gdstk.Label('DRAIN', (11.765,4.08), layer=132, texttype=0))

lib.write_gds('sky130_hilas_FGcharacterization01.gds')
